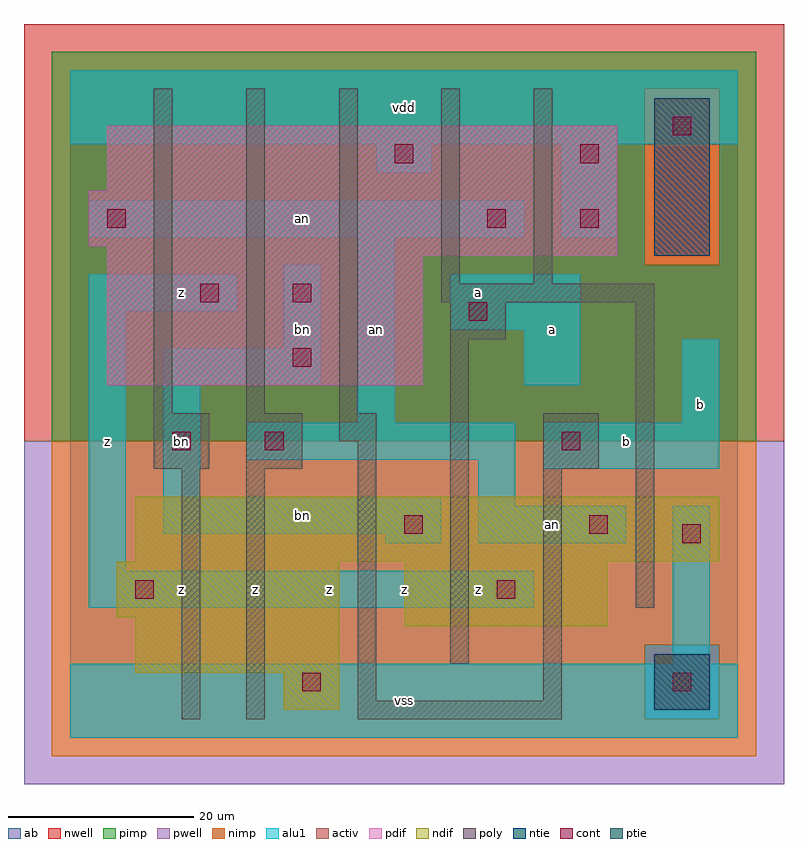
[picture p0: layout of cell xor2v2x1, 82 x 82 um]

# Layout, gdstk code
import gdstk
lib = gdstk.Library(unit=1e-6, precision=1e-09)
def R(c, l, rs):  # rectangles x0, y0, x1, y1
    for r in rs: c.add(gdstk.rectangle(r[:2], r[2:], *l))
def A(c, l, x, y, w, h, nx, ny, dx, dy):  # array of equal rectangles
    R(c, l, [(x+i*dx, y+j*dy, x+i*dx+w, y+j*dy+h) for i in range(nx) for j in range(ny)])
ndif = (3, 0)
pdif = (4, 0)
ntie = (5, 0)
ptie = (6, 0)
cont = (25, 0)
pwell = (41, 0)
nwell = (42, 0)
activ = (43, 0)
pimp = (44, 0)
nimp = (45, 0)
poly = (46, 0)
alu1 = (49, 0)
ab = (63, 0)

xor2v2x1 = lib.new_cell('xor2v2x1')
R(xor2v2x1, ndif, [(23,3,29,7), (7,7,29,13), (36,12,58,19), (5,13,29,19), (7,19,70,26)])
R(xor2v2x1, pdif, [(4,38,38,52), (4,52,59,53), (2,53,59,59), (4,59,59,66)])
R(xor2v2x1, ntie, [(63,52,69,69)])
R(xor2v2x1, ptie, [(63,3,69,9)])
R(xor2v2x1, cont, [(25,5,27,7), (65,5,67,7), (7,15,9,17), (46,15,48,17), (66,21,68,23), (36,22,38,24), (56,22,58,24), (11,31,13,33), (21,31,23,33), (53,31,55,33), (24,40,26,42), (43,45,45,47), (14,47,16,49), (24,47,26,49), (4,55,6,57), (45,55,47,57), (55,55,57,57), (35,62,37,64), (55,62,57,64), (65,65,67,67)])
R(xor2v2x1, pwell, [(-5,-5,77,32)])
R(xor2v2x1, nwell, [(-5,32,77,77)])
R(xor2v2x1, activ, [(23,3,29,7), (63,3,69,9), (7,7,29,13), (36,12,58,19), (5,13,29,19), (7,19,70,26), (4,38,38,52), (4,52,59,53), (63,52,69,69), (2,53,59,59), (4,59,59,66)])
R(xor2v2x1, pimp, [(62,2,70,10), (-2,32,74,51), (-2,51,62,70), (70,51,74,70), (-2,70,74,74)])
R(xor2v2x1, nimp, [(-2,-2,74,2), (-2,2,62,10), (70,2,74,10), (-2,10,74,32), (62,51,70,70)])
A(xor2v2x1, poly, 9, 35, 2, 35, 3, 1, 10, 0)
R(xor2v2x1, poly, [(12,2,14,29), (19,2,21,29), (31,2,53,4), (31,4,33,32), (51,4,53,29), (41,8,43,43), (61,14,63,47), (9,29,15,35), (19,29,25,35), (51,29,57,35), (29,32,33,35), (41,43,47,47), (40,47,63,49), (40,49,42,70), (50,49,52,70)])
R(xor2v2x1, alu1, [(0,0,72,8), (65,8,69,25), (2,14,50,18), (2,18,6,46), (34,21,40,22), (44,21,60,25), (10,22,40,26), (44,25,48,30), (10,26,14,38), (51,29,70,34), (19,30,48,34), (31,34,35,54), (66,34,70,43), (10,38,27,42), (49,38,55,44), (23,42,27,51), (41,44,55,50), (2,46,18,50), (2,54,49,58), (53,54,59,64), (33,61,39,64), (0,64,72,72)])
R(xor2v2x1, ab, [(0,0,72,72)])
xor2v2x1.add(gdstk.Label('bn', (12,32), layer=49, texttype=0))
xor2v2x1.add(gdstk.Label('bn', (25,44), layer=49, texttype=0))
xor2v2x1.add(gdstk.Label('bn', (25,24), layer=49, texttype=0))
xor2v2x1.add(gdstk.Label('an', (25,56), layer=49, texttype=0))
xor2v2x1.add(gdstk.Label('an', (33,44), layer=49, texttype=0))
xor2v2x1.add(gdstk.Label('an', (52,23), layer=49, texttype=0))
xor2v2x1.add(gdstk.Label('z', (12,16), layer=49, texttype=0))
xor2v2x1.add(gdstk.Label('z', (4,32), layer=49, texttype=0))
xor2v2x1.add(gdstk.Label('z', (12,48), layer=49, texttype=0))
xor2v2x1.add(gdstk.Label('z', (28,16), layer=49, texttype=0))
xor2v2x1.add(gdstk.Label('z', (20,16), layer=49, texttype=0))
xor2v2x1.add(gdstk.Label('vss', (36,4), layer=49, texttype=0))
xor2v2x1.add(gdstk.Label('z', (44,16), layer=49, texttype=0))
xor2v2x1.add(gdstk.Label('z', (36,16), layer=49, texttype=0))
xor2v2x1.add(gdstk.Label('a', (44,48), layer=49, texttype=0))
xor2v2x1.add(gdstk.Label('a', (52,44), layer=49, texttype=0))
xor2v2x1.add(gdstk.Label('vdd', (36,68), layer=49, texttype=0))
xor2v2x1.add(gdstk.Label('b', (60,32), layer=49, texttype=0))
xor2v2x1.add(gdstk.Label('b', (68,36), layer=49, texttype=0))

lib.write_gds('xor2v2x1.gds')
